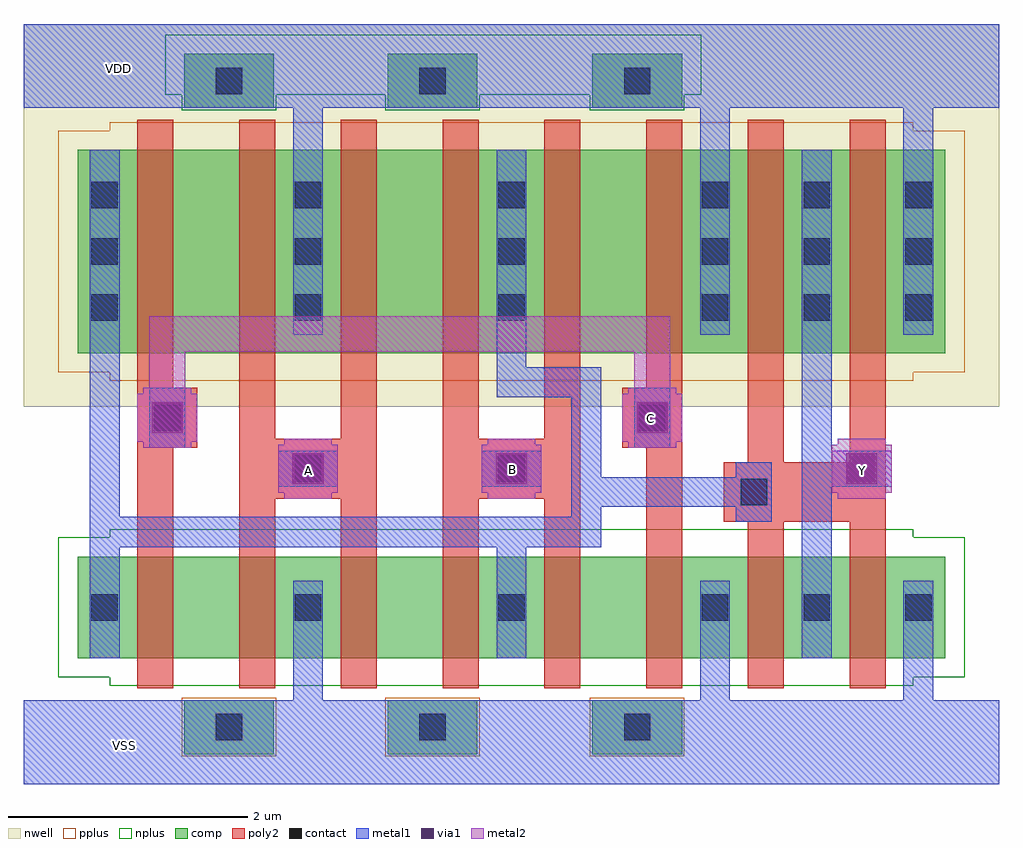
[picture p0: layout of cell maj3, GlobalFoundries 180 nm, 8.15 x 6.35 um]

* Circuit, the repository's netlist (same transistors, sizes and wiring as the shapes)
** sch_path: /foss/designs/real/inyeon-4-chipaton-2025/lvs/gf180mcu_osu_sc_gp9t3v3__maj3.sch
.subckt gf180mcu_osu_sc_gp9t3v3__maj3 VDD VSS A B C Y
*.PININFO VDD:B VSS:B A:I B:I C:I Y:O
XM1 net1 C VDD VDD pfet_03v3 L=0.3u W=1.7u nf=1 m=1
XM2 X B net1 VDD pfet_03v3 L=0.3u W=1.7u nf=1 m=1
XM3 net6 A VDD VDD pfet_03v3 L=0.3u W=1.7u nf=1 m=1
XM5 net2 A VDD VDD pfet_03v3 L=0.3u W=1.7u nf=1 m=1
XM6 X C net2 VDD pfet_03v3 L=0.3u W=1.7u nf=1 m=1
XM4 X B net6 VDD pfet_03v3 L=0.3u W=1.7u nf=1 m=1
XM7 X B net5 VSS nfet_03v3 L=0.3u W=0.85u nf=1 m=1
XM8 net5 C VSS VSS nfet_03v3 L=0.3u W=0.85u nf=1 m=1
XM9 X B net4 VSS nfet_03v3 L=0.3u W=0.85u nf=1 m=1
XM10 net4 A VSS VSS nfet_03v3 L=0.3u W=0.85u nf=1 m=1
XM11 X C net3 VSS nfet_03v3 L=0.3u W=0.85u nf=1 m=1
XM12 net3 A VSS VSS nfet_03v3 L=0.3u W=0.85u nf=1 m=1
XM13 Y X VDD VDD pfet_03v3 L=0.3u W=1.7u nf=1 m=1
XM14 Y X VDD VDD pfet_03v3 L=0.3u W=1.7u nf=1 m=1
XM15 Y X VSS VSS nfet_03v3 L=0.3u W=0.85u nf=1 m=1
XM16 Y X VSS VSS nfet_03v3 L=0.3u W=0.85u nf=1 m=1
.ends

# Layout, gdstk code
import gdstk
lib = gdstk.Library(unit=1e-6, precision=1e-09)
def R(c, l, rs):  # rectangles x0, y0, x1, y1
    for r in rs: c.add(gdstk.rectangle(r[:2], r[2:], *l))
def A(c, l, x, y, w, h, nx, ny, dx, dy):  # array of equal rectangles
    R(c, l, [(x+i*dx, y+j*dy, x+i*dx+w, y+j*dy+h) for i in range(nx) for j in range(ny)])
def P(c, l, *ps):  # polygons
    for p in ps: c.add(gdstk.Polygon(p, *l))
nwell = (21, 0)
comp = (22, 0)
poly2 = (30, 0)
pplus = (31, 0)
nplus = (32, 0)
contact = (33, 0)
metal1 = (34, 0)
via1 = (35, 0)
metal2 = (36, 0)

maj3 = lib.new_cell('maj3')
R(maj3, nwell, [(-1.22,-1.495,6.93,1.705)])
R(maj3, comp, [(0.12,-4.395,0.87,-3.945), (1.82,-4.395,2.57,-3.945), (3.53,-4.395,4.28,-3.945), (-0.77,-3.595,6.48,-2.745), (-0.77,-1.045,6.48,0.655), (0.12,1.005,0.87,1.455), (1.82,1.005,2.57,1.455), (3.53,1.005,4.28,1.455)])
A(maj3, poly2, -0.27, -3.845, 0.3, 4.75, 7, 1, 0.85, 0)
R(maj3, poly2, [(4.83,-3.845,5.13,0.905), (5.68,-3.845,5.98,0.905), (4.63,-2.455,4.83,-1.955), (4.63,-2.455,5.98,-1.955), (0.88,-2.26,1.43,-1.76), (2.58,-2.26,3.13,-1.76), (0.03,-1.835,0.23,-1.335), (3.78,-1.835,3.98,-1.335)])
R(maj3, pplus, [(0.1,-4.415,0.89,-3.925), (1.8,-4.415,2.59,-3.925), (3.51,-4.415,4.3,-3.925), (-0.5,-1.275,6.21,-1.205), (-0.93,-1.205,6.64,0.815), (-0.5,0.815,6.21,0.885)])
R(maj3, nplus, [(-0.5,-3.825,6.21,-3.755), (-0.93,-3.755,6.64,-2.585), (-0.5,-2.585,6.21,-2.515), (0.1,0.985,0.89,1.475), (1.8,0.985,2.59,1.475), (3.51,0.985,4.3,1.475), (-0.04,1.115,4.44,1.615)])
A(maj3, contact, -0.655, -3.28, 0.22, 0.22, 4, 2, 1.7, 2.505)
A(maj3, contact, 5.295, -0.775, 0.22, 0.22, 1, 3, 0, 0.47)
A(maj3, contact, 6.145, -0.775, 0.22, 0.22, 1, 3, 0, 0.47)
A(maj3, contact, -0.655, -0.305, 0.22, 0.22, 4, 2, 1.7, 0.47)
R(maj3, contact, [(0.385,-4.28,0.605,-4.06), (2.085,-4.28,2.305,-4.06), (3.795,-4.28,4.015,-4.06), (5.295,-3.28,5.515,-3.06), (6.145,-3.28,6.365,-3.06), (4.77,-2.315,4.99,-2.095), (1.045,-2.12,1.265,-1.9), (2.745,-2.12,2.965,-1.9), (-0.13,-1.695,0.09,-1.475), (3.92,-1.695,4.14,-1.475), (0.385,1.12,0.605,1.34), (2.085,1.12,2.305,1.34), (3.795,1.12,4.015,1.34)])
R(maj3, metal1, [(-1.22,-4.645,6.93,-3.945), (1.03,-3.945,1.28,-2.945), (4.43,-3.945,4.68,-2.945), (6.13,-3.945,6.38,-2.945), (-0.67,-3.595,-0.42,0.655), (5.28,-3.595,5.53,0.655), (4.73,-2.455,5.03,-1.955), (3.605,-2.33,4.77,-2.08), (0.905,-2.16,1.405,-1.86), (2.605,-2.16,3.105,-1.86), (5.53,-2.16,6.03,-1.86), (-0.17,-1.835,0.13,-1.335), (3.88,-1.835,4.18,-1.335), (1.03,-0.89,1.28,1.005), (4.43,-0.89,4.68,1.005), (6.13,-0.89,6.38,1.005), (-1.22,1.005,6.93,1.705)])
P(maj3, metal1, [(2.73,-3.595),(2.73,-2.665),(-0.42,-2.665),(-0.42,-2.41),(3.355,-2.41),(3.355,-1.415),(2.73,-1.415),(2.73,0.655),(2.98,0.655),(2.98,-1.165),(3.605,-1.165),(3.605,-2.41),(3.605,-2.665),(2.98,-2.665),(2.98,-3.595)])
R(maj3, via1, [(1.025,-2.14,1.285,-1.88), (2.725,-2.14,2.985,-1.88), (5.65,-2.14,5.91,-1.88), (-0.15,-1.715,0.11,-1.455), (3.9,-1.715,4.16,-1.455)])
R(maj3, metal2, [(0.955,-2.26,1.355,-1.76), (0.955,-2.26,1.355,-1.76), (2.655,-2.26,3.055,-1.76), (5.58,-2.26,5.98,-1.76), (0.905,-2.21,1.405,-1.81), (0.905,-2.21,1.405,-1.81), (2.605,-2.21,3.105,-1.81), (5.53,-2.21,6.03,-1.81), (-0.22,-1.835,0.18,-1.335), (3.83,-1.835,4.23,-1.335), (-0.27,-1.785,0.23,-1.385), (3.78,-1.785,4.28,-1.385), (-0.17,-1.335,0.13,-0.735), (3.88,-1.335,4.18,-1.035), (0.13,-1.035,4.18,-0.735)])
maj3.add(gdstk.Label('VDD', (-0.43,1.335), layer=34, texttype=10))
maj3.add(gdstk.Label('VSS', (-0.38,-4.325), layer=34, texttype=10))
maj3.add(gdstk.Label('A', (1.155,-2.025), layer=36, texttype=10))
maj3.add(gdstk.Label('B', (2.86,-2.015), layer=36, texttype=10))
maj3.add(gdstk.Label('C', (4.02,-1.595), layer=36, texttype=10))
maj3.add(gdstk.Label('Y', (5.785,-2.025), layer=36, texttype=10))

lib.write_gds('maj3.gds')
